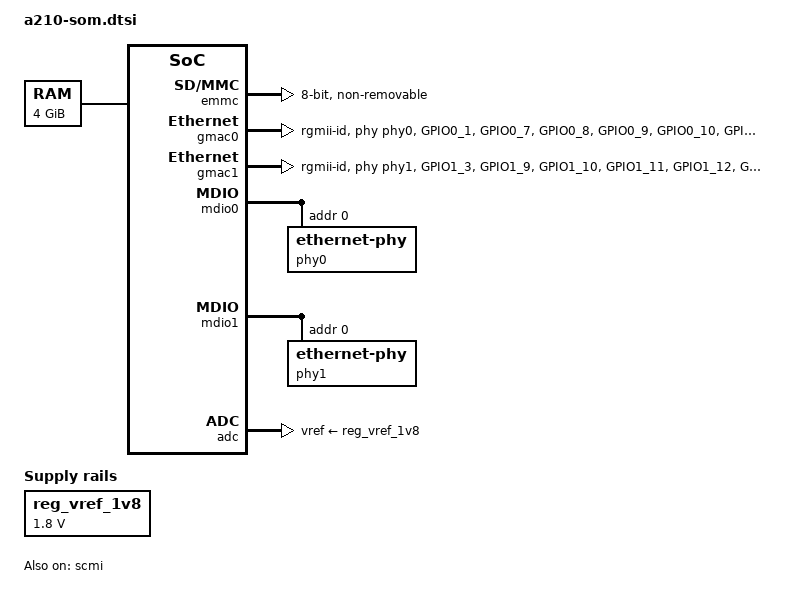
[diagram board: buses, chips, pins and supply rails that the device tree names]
// SPDX-License-Identifier: (GPL-2.0-only OR BSD-2-Clause)

#include "a210.dtsi"

/ {
	aliases {
		ethernet0 = &gmac0;
		ethernet1 = &gmac1;
		mmc0 = &emmc;
	};

	reg_vref_1v8: regulator-adc-vref {
		compatible = "regulator-fixed";
		regulator-always-on;
		regulator-boot-on;
		regulator-max-microvolt = <1800000>;
		regulator-min-microvolt = <1800000>;
		regulator-name = "vref-1v8";
	};

	reserved-memory {
		ranges;
		#address-cells = <2>;
		#size-cells = <2>;

		linux,cma {
			compatible = "shared-dma-pool";
			alloc-ranges = <0 0x80000000 0 0x80000000>;
			reusable;
			size = <0 0x10000000>;
			linux,cma-default;
		};
	};

	memory@80000000 {
		device_type = "memory";
		reg = <0x0 0x80000000 0x1 0x0>;
	};
};

&mbox_e902 {
	status = "okay";
};

&scmi {
	status = "okay";
};

&scmi_voltage {
	regulators {
		#address-cells = <1>;
		#size-cells = <0>;

		dvdd_cpu_reg: regulator@0 {
			reg = <0>;
			regulator-always-on;
			regulator-max-microvolt = <1000000>;
			regulator-min-microvolt = <600000>;
			regulator-name = "dvdd_cpu";
		};

		dvddm_cpu_reg: regulator@1 {
			reg = <1>;
			regulator-always-on;
			regulator-max-microvolt = <1000000>;
			regulator-min-microvolt = <800000>;
			regulator-name = "dvddm_cpu";
		};

		dvdd_cpu_p_reg: regulator@2 {
			reg = <2>;
			regulator-always-on;
			regulator-max-microvolt = <1000000>;
			regulator-min-microvolt = <800000>;
			regulator-name = "dvdd_cpu_p";
		};

		dvdd08_ddr_reg: regulator@3 {
			reg = <3>;
			regulator-always-on;
			regulator-max-microvolt = <800000>;
			regulator-min-microvolt = <750000>;
			regulator-name = "dvdd08_ddr";
		};

		dvdd_vp_reg: regulator@4 {
			reg = <4>;
			regulator-max-microvolt = <800000>;
			regulator-min-microvolt = <750000>;
			regulator-name = "dvdd_vp";
		};

		dvdd_npu_vip_reg: regulator@5 {
			reg = <5>;
			regulator-max-microvolt = <1000000>;
			regulator-min-microvolt = <750000>;
			regulator-name = "dvdd_npu_vip";
		};

		dvdd_gpu_reg: regulator@6 {
			reg = <6>;
			regulator-max-microvolt = <800000>;
			regulator-min-microvolt = <750000>;
			regulator-name = "dvdd_gpu";
		};

		avdd33_emmc_reg: regulator@7 {
			reg = <7>;
			regulator-always-on;
			regulator-name = "avdd33_emmc";
		};

		avdd33_usb2_reg: regulator@8 {
			reg = <8>;
			regulator-always-on;
			regulator-name = "avdd33_usb2";
		};

		dvdd08_aon_reg: regulator@9 {
			reg = <9>;
			regulator-always-on;
			regulator-name = "dvdd08_aon";
		};

		avdd18_aon_reg: regulator@a {
			reg = <10>;
			regulator-always-on;
			regulator-name = "avdd18_aon";
		};

		avdd18_emmc_usb2_reg: regulator@b {
			reg = <11>;
			regulator-always-on;
			regulator-name = "avdd18_emmc_usb2";
		};

		avdd18_emmc_peri_reg: regulator@c {
			reg = <12>;
			regulator-always-on;
			regulator-name = "avdd18_emmc_peri";
		};

		avdd18_top_reg: regulator@d {
			reg = <13>;
			regulator-always-on;
			regulator-name = "avdd18_top";
		};

		avdd18_pll_reg: regulator@e {
			reg = <14>;
			regulator-always-on;
			regulator-name = "avdd18_pll";
		};

		avdd18_reg: regulator@f {
			reg = <15>;
			regulator-always-on;
			regulator-name = "avdd18";
		};

		dvdd18_ddr_vaa_reg: regulator@10 {
			reg = <16>;
			regulator-always-on;
			regulator-name = "dvdd18_ddr_vaa";
		};

		p3v3_reg: regulator@11 {
			reg = <17>;
			regulator-always-on;
			regulator-name = "p3v3";
		};

		dvdd08_top_reg: regulator@12 {
			reg = <18>;
			regulator-always-on;
			regulator-name = "dvdd08_top";
		};

		dvdd06_ddr_vddqlp_reg: regulator@13 {
			reg = <19>;
			regulator-always-on;
			regulator-name = "dvdd06_ddr_vddqlp";
		};
	};
};

&emmc {
	assigned-clock-parents = <&clk AUDIO0_PLL_FOUTVCO>, <0>;
	assigned-clock-rates = <0>, <786432000>;
	assigned-clocks = <&clk TOP_PERI_EMMC_REF_CLK_MUX>,
			  <&clk TOP_PERI_EMMC_REF_CLK_DIV>;
	bus-width = <8>;
	cap-mmc-highspeed;
	max-frequency = <196608000>;
	mmc-hs200-1_8v;
	mmc-hs400-1_8v;
	mmc-hs400-enhanced-strobe;
	no-sd;
	no-sdio;
	non-removable;

	status = "okay";
};

&gmac0 {
	phy-handle = <&phy0>;
	phy-mode = "rgmii-id";
	pinctrl-0 = <&gmac0_pins>;
	pinctrl-names = "default";

	status = "okay";
};

&gmac1 {
	phy-handle = <&phy1>;
	phy-mode = "rgmii-id";
	pinctrl-0 = <&gmac1_pins>;
	pinctrl-names = "default";

	status = "okay";
};

&mdio0 {
	phy0: ethernet-phy@0 {
		reg = <0x0>;
	};
};

&mdio1 {
	phy1: ethernet-phy@0 {
		reg = <0x0>;
	};
};

&peri1_padctrl {
	gmac0_pins: gmac0-0 {
		rx-pins {
			bias-disable;
			drive-strength = <13>;
			function = "gmac0";
			input-enable;
			input-schmitt-disable;
			pins = "GPIO0_1",  /* GMAC0_RX_CLK */
			       "GPIO0_7",  /* GMAC0_RXDV */
			       "GPIO0_8",  /* GMAC0_RXD0 */
			       "GPIO0_9",  /* GMAC0_RXD1 */
			       "GPIO0_10", /* GMAC0_RXD2 */
			       "GPIO0_11", /* GMAC0_RXD3 */
			       "GPIO0_13"; /* GMAC0_MDIO */
			slew-rate = <0>;
		};

		tx-pins {
			bias-disable;
			drive-strength = <20>;
			function = "gmac0";
			input-disable;
			input-schmitt-disable;
			pins = "GPIO0_2", /* GMAC0_TXEN */
			       "GPIO0_3", /* GMAC0_TXD0 */
			       "GPIO0_4", /* GMAC0_TXD1 */
			       "GPIO0_5", /* GMAC0_TXD2 */
			       "GPIO0_6"; /* GMAC0_TXD3 */
			slew-rate = <0>;
		};

		txclk-pins {
			bias-disable;
			drive-strength = <13>;
			function = "gmac0";
			input-disable;
			input-schmitt-disable;
			pins = "GPIO0_0", /* GMAC0_TX_CLK */
			       "GPIO0_12"; /* GMAC0_MDC */
			slew-rate = <0>;
		};
	};

	gmac1_pins: gmac1-0 {
		rx-pins {
			bias-disable;
			drive-strength = <13>;
			function = "gmac1";
			input-enable;
			input-schmitt-disable;
			pins = "GPIO1_3",  /* GMAC1_RX_CLK */
			       "GPIO1_9",  /* GMAC1_RXDV */
			       "GPIO1_10",  /* GMAC1_RXD0 */
			       "GPIO1_11",  /* GMAC1_RXD1 */
			       "GPIO1_12", /* GMAC1_RXD2 */
			       "GPIO1_13", /* GMAC1_RXD3 */
			       "GPIO1_15"; /* GMAC1_MDIO */
			slew-rate = <0>;
		};

		tx-pins {
			bias-disable;
			drive-strength = <20>;
			function = "gmac1";
			input-disable;
			input-schmitt-disable;
			pins = "GPIO1_4", /* GMAC1_TXEN */
			       "GPIO1_5", /* GMAC1_TXD0 */
			       "GPIO1_6", /* GMAC1_TXD1 */
			       "GPIO1_7", /* GMAC1_TXD2 */
			       "GPIO1_8"; /* GMAC1_TXD3 */
			slew-rate = <0>;
		};

		txclk-pins {
			bias-disable;
			drive-strength = <13>;
			function = "gmac1";
			input-disable;
			input-schmitt-disable;
			pins = "GPIO1_2", /* GMAC1_TX_CLK */
			       "GPIO1_14"; /* GMAC1_MDC */
			slew-rate = <0>;
		};
	};
};

&power_gpu {
	pmic-supply = <&dvdd_gpu_reg>;
};

&clk {
	assigned-clock-rates = <2359296000>, <2528870400>;
	assigned-clocks = <&clk AUDIO0_PLL_FOUTVCO>, <&clk AUDIO1_PLL_FOUTVCO>;
};

&adc {
	vref-supply = <&reg_vref_1v8>;

	status = "okay";
};
